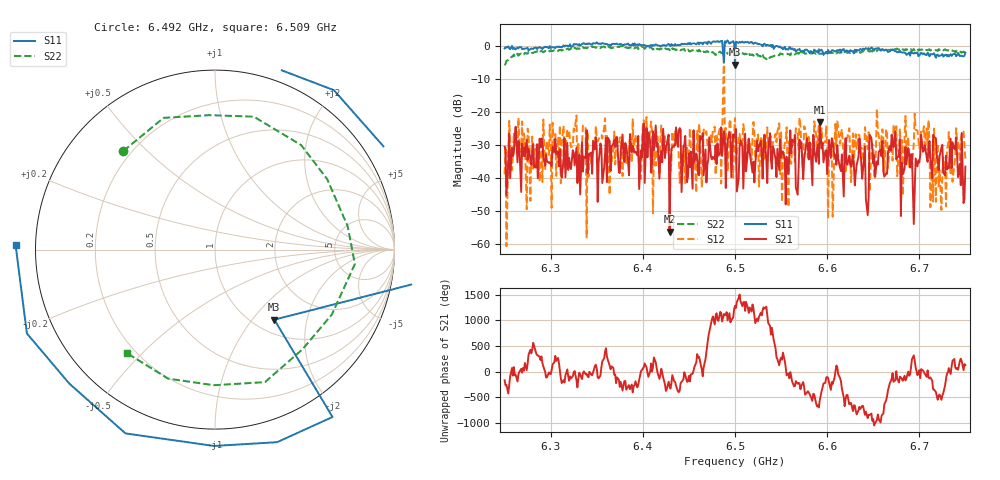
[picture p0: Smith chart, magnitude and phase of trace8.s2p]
# Hz S RI R 50
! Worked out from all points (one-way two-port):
!   401 points, 6.25 GHz to 6.75 GHz, reference 50 ohm
!   highest |S21| = -23.20 dB at 6.592 GHz (marker M1); lowest = -56.1 dB at 6.429 GHz (marker M2)
!   lowest |S11| = -5.8 dB at 6.5 GHz (marker M3), VSWR 3.10, Z = 61.5 - j65 ohm
!   |S11| at or under -10 dB: nowhere
!   |S22| runs from -6.0 to -0.1 dB; largest |S21 - S12| = 0.69
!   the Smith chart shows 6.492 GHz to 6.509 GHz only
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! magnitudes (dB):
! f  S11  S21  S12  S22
! 6.25 GHz  -0.9  -30.5  -38.8  -6.0
! 6.262 GHz  -1.2  -24.5  -28.5  -2.9
! 6.334 GHz  0.4  -29.2  -29.9  -0.9
! 6.341 GHz  0.7  -33.7  -39.7  -0.7
! 6.356 GHz  0.7  -41.5  -28.1  -0.4
! 6.365 GHz  -0.1  -37.8  -30.3  -0.5
! 6.418 GHz  0.0  -40.2  -39.0  -1.2
! 6.429 GHz  0.1  -56.1  -34.0  -1.4
! 6.439 GHz  0.1  -25.6  -33.5  -1.1
! 6.451 GHz  0.8  -36.7  -25.0  -1.8
! 6.489 GHz  1.3  -27.6  -27.2  -2.0
! 6.5 GHz  -5.8  -26.8  -21.9  -2.5
! 6.584 GHz  -2.1  -42.2  -31.5  -2.4
! 6.592 GHz  -1.6  -23.2  -28.8  -2.5
! 6.604 GHz  -2.1  -33.9  -31.0  -2.1
! 6.61 GHz  -1.7  -36.0  -30.1  -2.4
! 6.642 GHz  -0.8  -46.3  -27.3  -1.7
! 6.668 GHz  -1.7  -30.3  -29.8  -1.3
! 6.696 GHz  -2.3  -34.1  -25.4  -1.3
! 6.708 GHz  -2.9  -33.7  -25.0  -1.3
! 6.726 GHz  -3.3  -38.3  -33.6  -1.4
! 6.75 GHz  -2.1  -36.5  -34.3  -2.6
